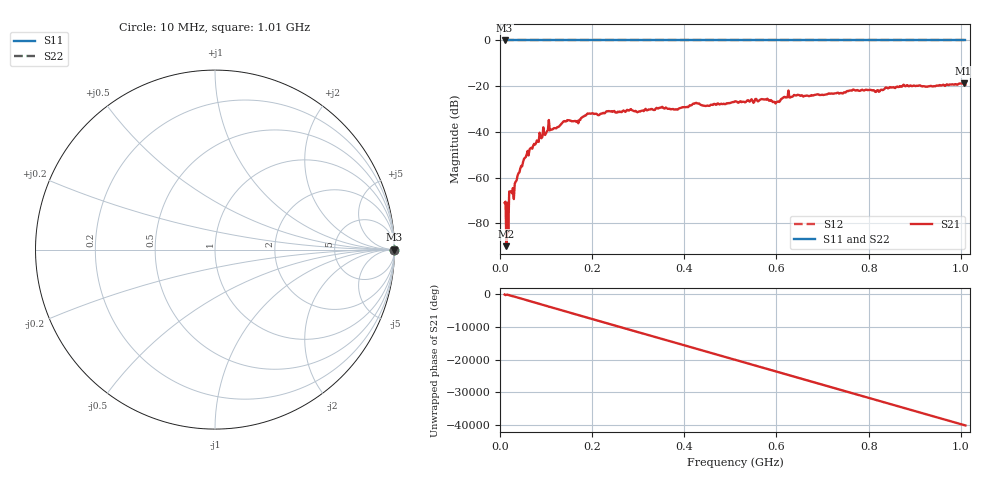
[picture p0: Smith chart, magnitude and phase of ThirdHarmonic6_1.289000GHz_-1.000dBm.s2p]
! 8/16/2025 2:05:36 PM
! C:\ANRITSUVNA\TEMP\TEMP.S2P
! CHANNEL.1
! TR.MEASUREMENT
! RAW.DATA
! RF.CORRECTION.OFF
! AVERAGING.OFF
! IF.BANDWIDTH: 5KHZ
! SWEEPTYPE:  FREQ.SWEEP(Linear)
! Reference Plane Port Info
! PORT:  PORT1  PORT2
! DISTANCE:  0  m  0  m
! TIME:  0  s  0  s
! PHASE.OFFSET:  0  deg.  0  deg.
! LOSS:  0  dB  0  dB
! REF.LOSS:  0  dB  0  dB
! REF.FREQ:  0  Hz  0  Hz
! Power Info
! POWER:  -20  dBm  -20  dBm
! EFF.POWER:  -20  dBm  -20  dBm
! SOURCE.ATTEN:  0  dB  0  dB
! TEST.ATTEN:  0  dB  0  dB
# GHZ S RI R 50.0
! FREQ.GHZ  S11RE  S11IM  S21RE  S21IM  S12RE  S12IM  S22RE  S22IM
!; PortSelection: Port_12
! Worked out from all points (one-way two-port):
!   501 points, 10 MHz to 1.01 GHz, reference 50 ohm
!   highest |S21| = -18.79 dB at 1.006 GHz (marker M1); lowest = -90.0 dB at 14 MHz (marker M2)
!   lowest |S11| = 0.0 dB at 10 MHz (marker M3)
!   |S11| at or under -10 dB: nowhere
!   |S22| runs from 0.0 to 0.0 dB; largest |S21 - S12| = 1.1
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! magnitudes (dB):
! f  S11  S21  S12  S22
! 10 MHz  0.0  -71.0  0.0  0.0
! 14 MHz  0.0  -90.0  0.0  0.0
! 18 MHz  0.0  -83.9  0.0  0.0
! 24 MHz  0.0  -66.0  0.0  0.0
! 30 MHz  0.0  -69.3  0.0  0.0
! 56 MHz  0.0  -50.9  0.0  0.0
! 90 MHz  0.0  -42.7  0.0  0.0
! 142 MHz  0.0  -35.4  0.0  0.0
! 166 MHz  0.0  -35.6  0.0  0.0
! 178 MHz  0.0  -33.7  0.0  0.0
! 194 MHz  0.0  -31.9  0.0  0.0
! 344 MHz  0.0  -29.7  0.0  0.0
! 382 MHz  0.0  -30.1  0.0  0.0
! 424 MHz  0.0  -27.4  0.0  0.0
! 450 MHz  0.0  -28.5  0.0  0.0
! 510 MHz  0.0  -26.6  0.0  0.0
! 602 MHz  0.0  -26.8  0.0  0.0
! 622 MHz  0.0  -24.9  0.0  0.0
! 678 MHz  0.0  -24.1  0.0  0.0
! 844 MHz  0.0  -20.7  0.0  0.0
! 1.006 GHz  0.0  -18.8  0.0  0.0
! 1.01 GHz  0.0  -19.4  0.0  0.0
